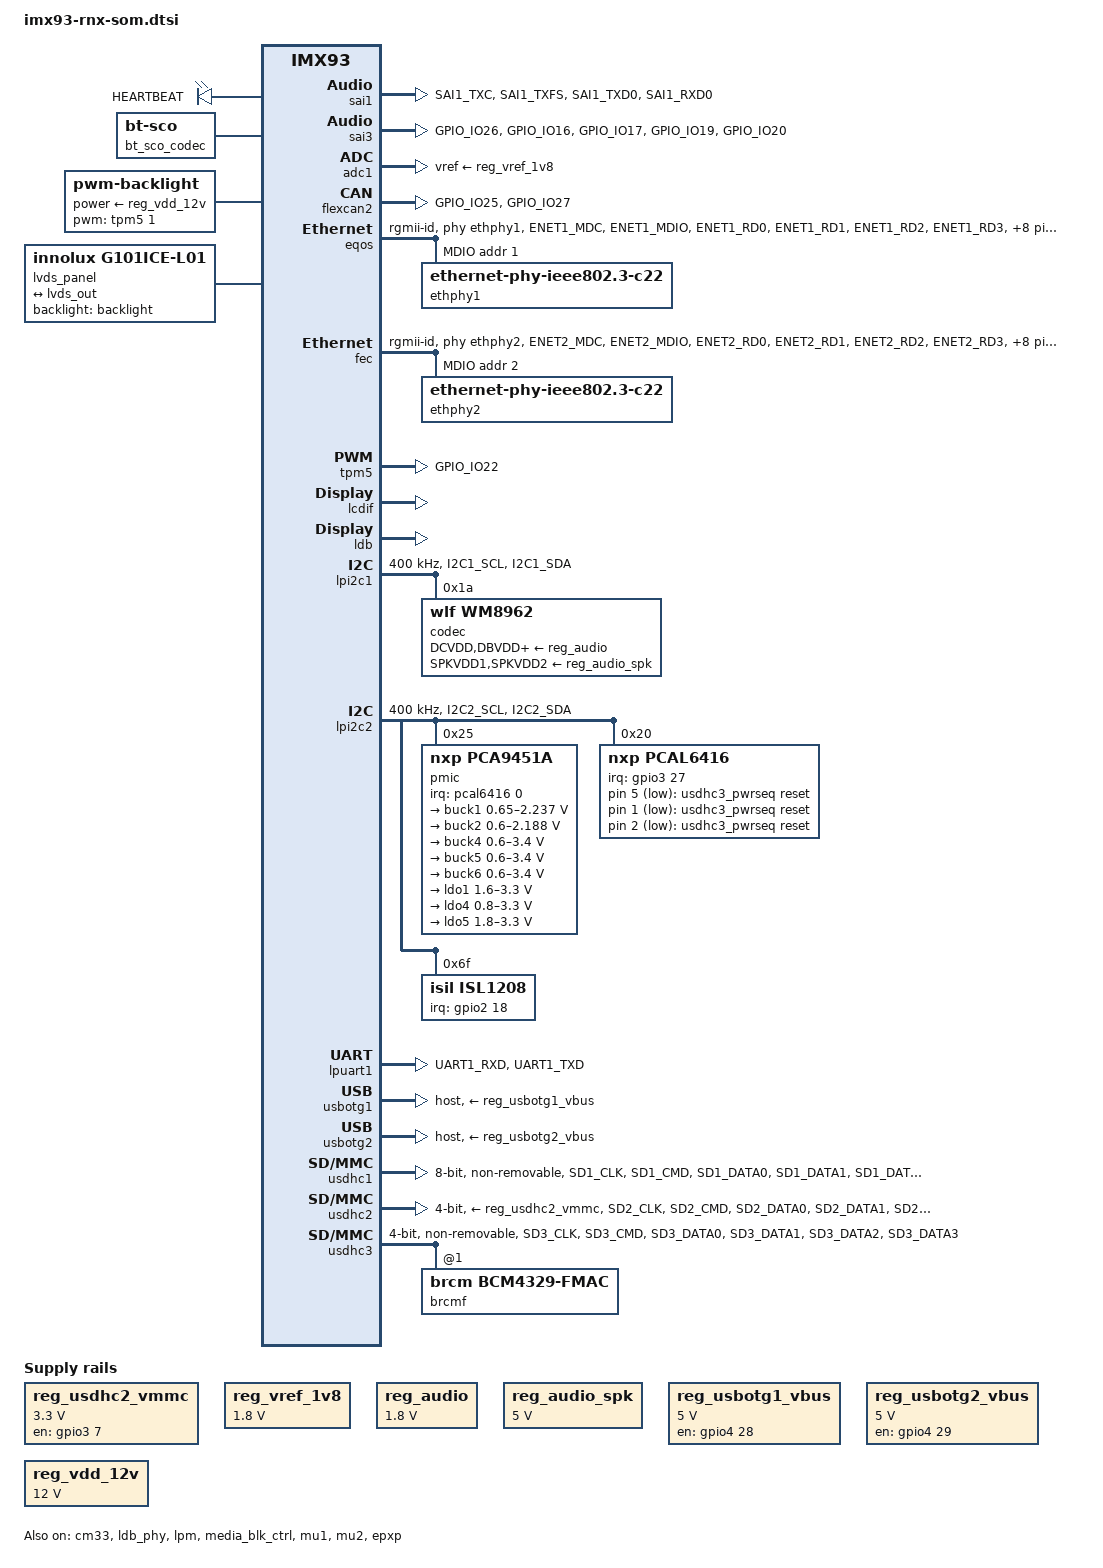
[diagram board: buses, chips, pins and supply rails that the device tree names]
// SPDX-License-Identifier: (GPL-2.0+ OR MIT)
/*
 * Copyright 2022 NXP
 * Copyright 2023-2026 Ronetix GmbH
 *
 * Common part of the Ronetix RNX-iMX93-OSM and RNX-iMX93-SMARC SoMs.
 * The board files set the model and the compatible and override what
 * differs between the two, see imx93-rnx-osm.dts and
 * imx93-rnx-smarc.dts.
 */

#include <dt-bindings/usb/pd.h>
#include "imx93.dtsi"

&ele_fw2 {
	memory-region = <&ele_reserved>;
};

/ {
	/*
	 * The 6.1 NXP kernel supplied these from its imx93.dtsi. Upstream moved
	 * the aliases out of the SoC .dtsi and into the board files, so for 6.18
	 * every i.MX93 board carries its own - see imx93-11x11-evk.dts.
	 *
	 * serial0 is not optional: of_alias_get_id() failing makes the lpuart
	 * probe return -ENODEV (fsl_lpuart.c), so there is no ttyLP0 for a getty
	 * and the console dies mid-line the moment clk_disable_unused() gates the
	 * UART clock. The mmc* aliases set the host index (mmc_alloc_host() in
	 * drivers/mmc/core/host.c), which keeps the eMMC on mmcblk0 instead of
	 * leaving it to probe order.
	 */
	aliases {
		csi0 = &mipi_csi;
		ethernet0 = &fec;
		ethernet1 = &eqos;
		gpio0 = &gpio1;
		gpio1 = &gpio2;
		gpio2 = &gpio3;
		gpio3 = &gpio4;
		i2c0 = &lpi2c1;
		i2c1 = &lpi2c2;
		i2c2 = &lpi2c3;
		i2c3 = &lpi2c4;
		i2c4 = &lpi2c5;
		i2c5 = &lpi2c6;
		i2c6 = &lpi2c7;
		i2c7 = &lpi2c8;
		isi0 = &isi;		/* isi_0 in the 6.1 tree */
		mmc0 = &usdhc1;		/* eMMC */
		mmc1 = &usdhc2;		/* SD card */
		mmc2 = &usdhc3;		/* AP6275S WiFi */
		rtc0 = &bbnsm_rtc;	/* as in 6.1; the isl1208 becomes rtc1 */
		serial0 = &lpuart1;	/* console, ttyLP0 */
		serial1 = &lpuart2;
		serial2 = &lpuart3;
		serial3 = &lpuart4;
		serial4 = &lpuart5;
		serial5 = &lpuart6;
		serial6 = &lpuart7;
		serial7 = &lpuart8;
	};

	chosen {
		stdout-path = &lpuart1;
	};

	leds {
		compatible = "gpio-leds";

		/* the GPIO differs between OSM and SMARC */
		led_heartbeat: debug-led0 {
			label = "HEARTBEAT";
			linux,default-trigger = "heartbeat";
		};
	};

	reserved-memory {
		#address-cells = <2>;
		#size-cells = <2>;
		ranges;

		linux,cma {
			compatible = "shared-dma-pool";
			reusable;
			alloc-ranges = <0 0x80000000 0 0x40000000>;
			size = <0 0x04000000>;				/* 0x0400_0000 - 64MB */
			linux,cma-default;
		};

		ethosu_mem: ethosu_region@B0000000 {
			compatible = "shared-dma-pool";
			reusable;
			reg = <0x0 0xB0000000 0x0 0x10000000>;
		};

		vdev0vring0: vdev0vring0@a4000000 {
			reg = <0 0xa4000000 0 0x8000>;
			no-map;
		};

		vdev0vring1: vdev0vring1@a4008000 {
			reg = <0 0xa4008000 0 0x8000>;
			no-map;
		};

		vdev1vring0: vdev1vring0@a4010000 {
			reg = <0 0xa4010000 0 0x8000>;
			no-map;
		};

		vdev1vring1: vdev1vring1@a4018000 {
			reg = <0 0xa4018000 0 0x8000>;
			no-map;
		};

		rsc_table: rsc-table@2021f000 {
			reg = <0 0x2021f000 0 0x1000>;
			no-map;
		};

		vdevbuffer: vdevbuffer@a4020000 {
			compatible = "shared-dma-pool";
			reg = <0 0xa4020000 0 0x100000>;
			no-map;
		};

		ele_reserved: ele-reserved@a4120000 {
			compatible = "shared-dma-pool";
			reg = <0 0xa4120000 0 0x100000>;
			no-map;
		};
	};

	ethosu {
		compatible = "arm,ethosu";
		fsl,cm33-proc = <&cm33>;
		memory-region = <&ethosu_mem>;
		power-domains = <&mlmix>;
	};

	reg_usdhc2_vmmc: regulator-usdhc2 {
		compatible = "regulator-fixed";
		pinctrl-names = "default";
		pinctrl-0 = <&pinctrl_reg_usdhc2_vmmc>;
		regulator-name = "VSD_3V3";
		regulator-min-microvolt = <3300000>;
		regulator-max-microvolt = <3300000>;
		gpio = <&gpio3 7 GPIO_ACTIVE_HIGH>;
		off-on-delay-us = <12000>;
		enable-active-high;
	};

	/*
	 * AP6275S power sequence. Verified against WiFi_LGA1216.SchDoc: the
	 * PCAL6416 P0 bank is
	 *   P0_0 PMIC_nINT        P0_4 WL_HOST_WAKEn
	 *   P0_1 W_DISABLE1       P0_5 SDIO_RESETn
	 *   P0_2 W_DISABLE2       P0_6 HOST_WAKE_WLAN
	 *   P0_3 BT_UART_WAKEn    P0_7 USB_HUB_VBUS_DET
	 * so these three lines are the module reset plus the two disables:
	 * W_DISABLE2 drives WL_REG_ON (module pin 63) and W_DISABLE1 drives
	 * WL_GPIO1/WL_DEV_WAKE (pin 28). Both also appear on the SMARC
	 * carrier connector, so the carrier can assert them too.
	 *
	 * Active low is right for all three: pwrseq_simple asserts
	 * reset-gpios while powered off and releases them after
	 * post-power-on-delay-ms, which drives SDIO_RESETn and the two
	 * W_DISABLE# lines low to hold the module off, then high to enable.
	 *
	 * The 6.1 DT used the property name "gpio" here, which
	 * mmc-pwrseq-simple does not read, so the lines were never driven.
	 */
	usdhc3_pwrseq: usdhc3-pwrseq {
		compatible = "mmc-pwrseq-simple";
		reset-gpios = <&pcal6416 5 GPIO_ACTIVE_LOW>,
			      <&pcal6416 1 GPIO_ACTIVE_LOW>,
			      <&pcal6416 2 GPIO_ACTIVE_LOW>;
		post-power-on-delay-ms = <150>;
	};

	reg_vref_1v8: regulator-adc-vref {
		compatible = "regulator-fixed";
		regulator-name = "vref_1v8";
		regulator-min-microvolt = <1800000>;
		regulator-max-microvolt = <1800000>;
	};

	reg_audio: regulator-audio {
		compatible = "regulator-fixed";
		regulator-name = "1v8_aud";
		regulator-min-microvolt = <1800000>;
		regulator-max-microvolt = <1800000>;
	};

	reg_audio_spk: regulator-audio-spk {
		compatible = "regulator-fixed";
		regulator-name = "5v0_speaker";
		regulator-min-microvolt = <5000000>;
		regulator-max-microvolt = <5000000>;
	};
	
	reg_usbotg1_vbus: regulator-usbotg1-vbus {
		compatible = "regulator-fixed";
		regulator-name = "vbus";
		pinctrl-names = "default";
		pinctrl-0 = <&pinctrl_usbotg1>;
		regulator-min-microvolt = <5000000>;
		regulator-max-microvolt = <5000000>;
		gpio = <&gpio4 28 GPIO_ACTIVE_HIGH>;
		enable-active-high;
	};

	reg_usbotg2_vbus: regulator-usbotg2-vbus {
		compatible = "regulator-fixed";
		regulator-name = "vbus";
		pinctrl-names = "default";
		pinctrl-0 = <&pinctrl_usbotg2>;
		regulator-min-microvolt = <5000000>;
		regulator-max-microvolt = <5000000>;
		gpio = <&gpio4 29 GPIO_ACTIVE_HIGH>;
		enable-active-high;
	};

	reg_vdd_12v: regulator-vdd-12v {
		compatible = "regulator-fixed";
		regulator-name = "reg_vdd_12v";
		regulator-min-microvolt = <12000000>;
		regulator-max-microvolt = <12000000>;
	};

	sound_wm8962: sound-wm8962 {
		compatible = "fsl,imx-audio-wm8962";
		model = "wm8962-audio";
		pinctrl-names = "default";
		pinctrl-0 = <&pinctrl_wm8962>;
		audio-cpu = <&sai3>;
		audio-codec = <&codec>;
		/* hp-det-gpio differs between OSM and SMARC */
		audio-routing =
			"Headphone Jack", "HPOUTL",
			"Headphone Jack", "HPOUTR",
			"Ext Spk", "SPKOUTL",
			"Ext Spk", "SPKOUTR",
			"AMIC", "MICBIAS",
			"IN3R", "AMIC",
			"IN1R", "AMIC";
	};

	bt_sco_codec: bt_sco_codec {
		#sound-dai-cells = <1>;
		compatible = "linux,bt-sco";
	};

	sound-bt-sco {
		compatible = "simple-audio-card";
		simple-audio-card,name = "bt-sco-audio";
		simple-audio-card,format = "dsp_a";
		simple-audio-card,bitclock-inversion;
		simple-audio-card,frame-master = <&btcpu>;
		simple-audio-card,bitclock-master = <&btcpu>;

		btcpu: simple-audio-card,cpu {
			sound-dai = <&sai1>;
			dai-tdm-slot-num = <2>;
			dai-tdm-slot-width = <16>;
		};

		simple-audio-card,codec {
			sound-dai = <&bt_sco_codec 1>;
		};
	};

	backlight: backlight {
		compatible = "pwm-backlight";
		pinctrl-names = "default";
		pinctrl-0 = <&pinctrl_backlight>;
		/* enable-gpios differs between OSM and SMARC */
		power-supply = <&reg_vdd_12v>;
		pwms = <&tpm5 1 1000000 0>;
		status = "okay";
		brightness-levels = < 0  1  2  3  4  5  6  7  8  9
				     10 11 12 13 14 15 16 17 18 19
				     20 21 22 23 24 25 26 27 28 29
				     30 31 32 33 34 35 36 37 38 39
				     40 41 42 43 44 45 46 47 48 49
				     50 51 52 53 54 55 56 57 58 59
				     60 61 62 63 64 65 66 67 68 69
				     70 71 72 73 74 75 76 77 78 79
				     80 81 82 83 84 85 86 87 88 89
				     90 91 92 93 94 95 96 97 98 99
				    100>;
		default-brightness-level = <90>;
	};

	lvds_panel {
		compatible = "innolux,g101ice-l01";
		backlight = <&backlight>;

		port {
			panel_lvds_in: endpoint {
				remote-endpoint = <&lvds_out>;
			};
		};
	};
};

&sai1 {
	#sound-dai-cells = <0>;
	pinctrl-names = "default";
	pinctrl-0 = <&pinctrl_sai1>;
	assigned-clocks = <&clk IMX93_CLK_SAI1>;
	assigned-clock-parents = <&clk IMX93_CLK_AUDIO_PLL>;
	assigned-clock-rates = <12288000>;
	status = "okay";
};

&sai3 {
	pinctrl-names = "default";
	pinctrl-0 = <&pinctrl_sai3>;
	assigned-clocks = <&clk IMX93_CLK_SAI3>;
	assigned-clock-parents = <&clk IMX93_CLK_AUDIO_PLL>;
	assigned-clock-rates = <12288000>;
	fsl,sai-mclk-direction-output;
	status = "okay";
};

&adc1 {
	vref-supply = <&reg_vref_1v8>;
	status = "okay";
};

&cm33 {
	mbox-names = "tx", "rx", "rxdb";
	mboxes = <&mu1 0 1>,
		 <&mu1 1 1>,
		 <&mu1 3 1>;
	memory-region = <&vdevbuffer>, <&vdev0vring0>, <&vdev0vring1>,
			<&vdev1vring0>, <&vdev1vring1>, <&rsc_table>;
	fsl,startup-delay-ms = <500>;
	status = "okay";
};

&flexcan2 {
	pinctrl-names = "default";
	pinctrl-0 = <&pinctrl_flexcan2>;
	status = "okay";
};

/* ethernet@428a0000
 * Carrier board: ETH1
 * Linux console: eth1
 */
&eqos {
	pinctrl-names = "default";
	pinctrl-0 = <&pinctrl_eqos>;
	phy-mode = "rgmii-id";
	phy-handle = <&ethphy1>;
	status = "okay";

	eqos_mdio: mdio {
		compatible = "snps,dwmac-mdio";
		#address-cells = <1>;
		#size-cells = <0>;
		clock-frequency = <5000000>;

		ethphy1: ethernet-phy@1 {
			compatible = "ethernet-phy-ieee802.3-c22";
			reg = <1>;
		};
	};
};

/* ethernet@42890000
 * Carrier: ETH2
 * Linux:   eth0
 */
&fec {
	pinctrl-names = "default";
	pinctrl-0 = <&pinctrl_fec>;
	phy-mode = "rgmii-id";
	phy-handle = <&ethphy2>;
	fsl,magic-packet;
	status = "okay";
	
	mdio {
		#address-cells = <1>;
		#size-cells = <0>;
		clock-frequency = <5000000>;

		ethphy2: ethernet-phy@2 {
			compatible = "ethernet-phy-ieee802.3-c22";
			reg = <2>;
		};
	};
};

&dphy {
	status = "disabled";
};

&dsi {
	status = "disabled";
};

&tpm5 {
	pinctrl-0 = <&pinctrl_tpm5>;
	pinctrl-names = "default";
	status = "okay";
};

&lcdif {
	status = "okay";
	assigned-clock-rates = <498000000>, <71142857>, <400000000>, <133333333>;
};

&ldb {
	#address-cells = <1>;
	#size-cells = <0>;
	status = "okay";

	lvds-channel@0 {
		#address-cells = <1>;
		#size-cells = <0>;
		status = "okay";

		port@1 {
			reg = <1>;

			lvds_out: endpoint {
				remote-endpoint = <&panel_lvds_in>;
			};
		};
	};
};

&ldb_phy {
	status = "okay";
};

&lpm {
	soc-supply = <&buck1>;
	status = "okay";
};

&lpi2c1 {
	#address-cells = <1>;
	#size-cells = <0>;
	clock-frequency = <400000>;
	pinctrl-names = "default", "sleep";
	pinctrl-0 = <&pinctrl_lpi2c1>;
	pinctrl-1 = <&pinctrl_lpi2c1>;
	status = "okay";

	codec: wm8962@1a {
		compatible = "wlf,wm8962";
		reg = <0x1a>;
		clocks = <&clk IMX93_CLK_SAI3_GATE>;
		DCVDD-supply = <&reg_audio>;
		DBVDD-supply = <&reg_audio>;
		AVDD-supply = <&reg_audio>;
		CPVDD-supply = <&reg_audio>;
		MICVDD-supply = <&reg_audio>;
		PLLVDD-supply = <&reg_audio>;
		SPKVDD1-supply = <&reg_audio_spk>;
		SPKVDD2-supply = <&reg_audio_spk>;
		gpio-cfg = <
			0x0000 /* 0:Default */
			0x0000 /* 1:Default */
			0x0000 /* 2:FN_DMICCLK */
			0x0000 /* 3:Default */
			0x0000 /* 4:FN_DMICCDAT */
			0x0000 /* 5:Default */
		>;
	};

	/*
	 * No lsm6dsm@6a. The 6.1 DT had one, but there is no IMU on either
	 * SoM - no LSM6 part appears anywhere in the RNX-iMX93-SMARC or
	 * RNX-iMX93-OSM schematic, nor on the carriers - so the node only
	 * made the st_lsm6dsx driver probe an address that never answers.
	 */

	/*
	 * Optional MIPI CSI camera, not fitted by default. Left disabled
	 * because with no sensor on the bus the driver only produces
	 *   ov5640 0-003c: ov5640_write_reg: error: reg=3008, val=82
	 *   ov5640 0-003c: failed to power on
	 *   ov5640 0-003c: probe with driver ov5640 failed with error -5
	 * on every boot.
	 *
	 * The rest of the capture pipeline - &mipi_csi, &dphy_rx and &isi -
	 * is disabled with it, see &mipi_csi below. To use a camera, set all
	 * four to "okay" and wire it up on the carrier.
	 */
	ov5640_mipi: ov5640_mipi@3c {
		compatible = "ovti,ov5640";
		reg = <0x3c>;
		clocks = <&clk IMX93_CLK_CCM_CKO1>;
		assigned-clocks = <&clk IMX93_CLK_CCM_CKO1>;
		assigned-clock-rates = <24000000>;
		clock-names = "xclk";
		status = "disabled";

		port {
			ov5640_mipi_ep: endpoint {
				remote-endpoint = <&mipi_csi_in>;
				data-lanes = <1 2>;
				clock-lanes = <0>;
			};
		};
	};
};

&lpi2c2 {
	#address-cells = <1>;
	#size-cells = <0>;
	clock-frequency = <400000>;
	pinctrl-names = "default", "sleep";
	pinctrl-0 = <&pinctrl_lpi2c2>;
	pinctrl-1 = <&pinctrl_lpi2c2>;
	status = "okay";

	pmic@25 {
		compatible = "nxp,pca9451a";
		reg = <0x25>;
		interrupt-parent = <&pcal6416>;
		interrupts = <0 IRQ_TYPE_EDGE_FALLING>;

		regulators {
			buck1: BUCK1 {
				regulator-name = "BUCK1";
				regulator-min-microvolt = <650000>;
				regulator-max-microvolt = <2237500>;
				regulator-boot-on;
				regulator-always-on;
				regulator-ramp-delay = <3125>;
			};

			buck2: BUCK2 {
				regulator-name = "BUCK2";
				regulator-min-microvolt = <600000>;
				regulator-max-microvolt = <2187500>;
				regulator-boot-on;
				regulator-always-on;
				regulator-ramp-delay = <3125>;
			};

			buck4: BUCK4{
				regulator-name = "BUCK4";
				regulator-min-microvolt = <600000>;
				regulator-max-microvolt = <3400000>;
				regulator-boot-on;
				regulator-always-on;
			};

			buck5: BUCK5{
				regulator-name = "BUCK5";
				regulator-min-microvolt = <600000>;
				regulator-max-microvolt = <3400000>;
				regulator-boot-on;
				regulator-always-on;
			};

			buck6: BUCK6 {
				regulator-name = "BUCK6";
				regulator-min-microvolt = <600000>;
				regulator-max-microvolt = <3400000>;
				regulator-boot-on;
				regulator-always-on;
			};

			ldo1: LDO1 {
				regulator-name = "LDO1";
				regulator-min-microvolt = <1600000>;
				regulator-max-microvolt = <3300000>;
				regulator-boot-on;
				regulator-always-on;
			};

			ldo4: LDO4 {
				regulator-name = "LDO4";
				regulator-min-microvolt = <800000>;
				regulator-max-microvolt = <3300000>;
				regulator-boot-on;
				regulator-always-on;
			};

			ldo5: LDO5 {
				regulator-name = "LDO5";
				regulator-min-microvolt = <1800000>;
				regulator-max-microvolt = <3300000>;
				regulator-boot-on;
				regulator-always-on;
			};
		};
	};

	pcal6416: gpio@20 {
		compatible = "nxp,pcal6416";
		pinctrl-names = "default";
		pinctrl-0 = <&pinctrl_pcal6416>;
		reg = <0x20>;
		gpio-controller;
		#gpio-cells = <2>;
		interrupt-controller;
		#interrupt-cells = <2>;
		interrupt-parent = <&gpio3>;
		interrupts = <27 IRQ_TYPE_LEVEL_LOW>;
	};

	isl1208: rtc@6f {
			compatible = "isil,isl1208";
			reg = <0x6F>;
			interrupt-parent = <&gpio2>;
			interrupts = <18 IRQ_TYPE_EDGE_FALLING>;
			status = "okay";
	};
	
	/*
	 * No node for the USB2517 hub. Per USB_HUB.SchDoc its RESET is tied to
	 * POR_B and its CFG_SEL straps (multiplexed on SCL/SMBCLK and
	 * HS_IND) select the internal default configuration, so the SMBus
	 * slave does not respond - usb251xb got -EIO on every register write:
	 *   usb251xb 1-002c: configuring block 0 failed: -5
	 *   usb251xb 1-002c: Failed to connect hub (-5)
	 * The hub needs no driver: it self-configures from the straps and
	 * enumerates on its own ("hub 2-1:1.0: 4 ports detected").
	 */
};

&lpuart1 { /* console */
	pinctrl-names = "default";
	pinctrl-0 = <&pinctrl_uart1>;
	status = "okay";
};

&media_blk_ctrl {
	status = "okay";
};

&mu1 {
	status = "okay";
};

&mu2 {
	status = "okay";
};

&usbotg1 {
	dr_mode = "host";
	status = "okay";
	vbus-supply = <&reg_usbotg1_vbus>;
};

&usbotg2 {
	dr_mode = "host";
	status = "okay";
	vbus-supply = <&reg_usbotg2_vbus>;
};

&usdhc1 {
	pinctrl-names = "default", "state_100mhz", "state_200mhz";
	pinctrl-0 = <&pinctrl_usdhc1>;
	pinctrl-1 = <&pinctrl_usdhc1>;
	pinctrl-2 = <&pinctrl_usdhc1>;
	bus-width = <8>;
	non-removable;
	status = "okay";
};

&usdhc2 {
	pinctrl-names = "default", "state_100mhz", "state_200mhz";
	pinctrl-0 = <&pinctrl_usdhc2>, <&pinctrl_usdhc2_gpio>;
	pinctrl-1 = <&pinctrl_usdhc2>, <&pinctrl_usdhc2_gpio>;
	pinctrl-2 = <&pinctrl_usdhc2>, <&pinctrl_usdhc2_gpio>;
	/* cd-gpios differs between OSM and SMARC */
	vmmc-supply = <&reg_usdhc2_vmmc>;
	keep-power-in-suspend;
	bus-width = <4>;
	status = "okay";
	no-sdio;
	no-mmc;
};

&usdhc3 {
	#address-cells = <1>;
	#size-cells = <0>;
	pinctrl-names = "default", "state_100mhz", "state_200mhz";
	pinctrl-0 = <&pinctrl_usdhc3>;
	pinctrl-1 = <&pinctrl_usdhc3>;
	pinctrl-2 = <&pinctrl_usdhc3>;
	mmc-pwrseq = <&usdhc3_pwrseq>;
	bus-width = <4>;
	max-frequency = <100000000>;
	non-removable;
	no-mmc;
	no-sd;
	status = "okay";

	/*
	 * AP6275S (BCM43752A2). The out of tree bcmdhd driver of the
	 * 6.1 BSP does not exist in this kernel, so the module runs on
	 * brcmfmac with brcm/brcmfmac43752-sdio.{bin,txt,clm_blob} from
	 * the linux-firmware-bcm43752 package (see meta-ronetix,
	 * recipes-kernel/linux-firmware).
	 *
	 * No "host-wake" out of band interrupt here, deliberately: on
	 * this module WL_HOST_WAKEn lands on P0_4 of the PCAL6416
	 * expander, and an interrupt from an i2c expander is a nested
	 * threaded one (gpio-pca953x.c sets girq->threaded, so gpiolib
	 * marks every line IRQ_NESTED_THREAD). __setup_irq() rejects
	 * such a line unless the handler has a thread_fn, and
	 * brcmfmac uses plain request_irq() in
	 * brcmf_sdiod_intr_register(). The result is
	 *   brcmfmac: brcmf_sdiod_intr_register: request_irq failed -22
	 *   brcmfmac: brcmf_sdio_firmware_callback: intr register failed:-22
	 * after the firmware has already been downloaded, and no wlan0.
	 * Without the property brcmfmac uses the in band SDIO interrupt
	 * on DAT1 instead (sdio_claim_irq), which works. The cost is
	 * that the chip cannot wake the host out of system suspend.
	 */
	brcmf: wifi@1 {
		compatible = "brcm,bcm4329-fmac";
		reg = <1>;
	};
};

&iomuxc {
	pinctrl_flexcan2: flexcan2grp {
		fsl,pins = <
			MX93_PAD_GPIO_IO25__CAN2_TX	0x139e
			MX93_PAD_GPIO_IO27__CAN2_RX	0x139e
		>;
	};

	pinctrl_lpi2c1: lpi2c1grp {
		fsl,pins = <
			MX93_PAD_I2C1_SCL__LPI2C1_SCL			0x40000b9e
			MX93_PAD_I2C1_SDA__LPI2C1_SDA			0x40000b9e
		>;
	};

	pinctrl_lpi2c2: lpi2c2grp {
		fsl,pins = <
			MX93_PAD_I2C2_SCL__LPI2C2_SCL			0x40000b9e
			MX93_PAD_I2C2_SDA__LPI2C2_SDA			0x40000b9e
		>;
	};

	/* pinctrl_backlight and pinctrl_wm8962 are in the board files,
	 * their pads differ between OSM and SMARC
	 */
	
	pinctrl_tpm5: tpm5grp {
		fsl,pins = <
			MX93_PAD_GPIO_IO22__TPM5_CH1 		0x51e
		>;
	};

	pinctrl_pcal6416: pcal6416grp {
		fsl,pins = <
			MX93_PAD_CCM_CLKO2__GPIO3_IO27			0x31e
		>;
	};

	pinctrl_eqos: eqosgrp {
		fsl,pins = <
			MX93_PAD_ENET1_MDC__ENET_QOS_MDC				0x57e
			MX93_PAD_ENET1_MDIO__ENET_QOS_MDIO				0x57e
			MX93_PAD_ENET1_RD0__ENET_QOS_RGMII_RD0			0x57e
			MX93_PAD_ENET1_RD1__ENET_QOS_RGMII_RD1			0x57e
			MX93_PAD_ENET1_RD2__ENET_QOS_RGMII_RD2			0x57e
			MX93_PAD_ENET1_RD3__ENET_QOS_RGMII_RD3			0x57e
			MX93_PAD_ENET1_RXC__CCM_ENET_QOS_CLOCK_GENERATE_RX_CLK	0x5fe
			MX93_PAD_ENET1_RX_CTL__ENET_QOS_RGMII_RX_CTL	0x57e
			MX93_PAD_ENET1_TD0__ENET_QOS_RGMII_TD0			0x57e
			MX93_PAD_ENET1_TD1__ENET_QOS_RGMII_TD1			0x57e
			MX93_PAD_ENET1_TD2__ENET_QOS_RGMII_TD2			0x57e
			MX93_PAD_ENET1_TD3__ENET_QOS_RGMII_TD3			0x57e
			MX93_PAD_ENET1_TXC__CCM_ENET_QOS_CLOCK_GENERATE_TX_CLK	0x5fe
			MX93_PAD_ENET1_TX_CTL__ENET_QOS_RGMII_TX_CTL	0x57e
		>;
	};

	pinctrl_fec: fecgrp {
		fsl,pins = <
			MX93_PAD_ENET2_MDC__ENET1_MDC			0x57e
			MX93_PAD_ENET2_MDIO__ENET1_MDIO			0x57e
			MX93_PAD_ENET2_RD0__ENET1_RGMII_RD0		0x57e
			MX93_PAD_ENET2_RD1__ENET1_RGMII_RD1		0x57e
			MX93_PAD_ENET2_RD2__ENET1_RGMII_RD2		0x57e
			MX93_PAD_ENET2_RD3__ENET1_RGMII_RD3		0x57e
			MX93_PAD_ENET2_RXC__ENET1_RGMII_RXC		0x5fe
			MX93_PAD_ENET2_RX_CTL__ENET1_RGMII_RX_CTL	0x57e
			MX93_PAD_ENET2_TD0__ENET1_RGMII_TD0		0x57e
			MX93_PAD_ENET2_TD1__ENET1_RGMII_TD1		0x57e
			MX93_PAD_ENET2_TD2__ENET1_RGMII_TD2		0x57e
			MX93_PAD_ENET2_TD3__ENET1_RGMII_TD3		0x57e
			MX93_PAD_ENET2_TXC__ENET1_RGMII_TXC		0x5fe
			MX93_PAD_ENET2_TX_CTL__ENET1_RGMII_TX_CTL	0x57e
		>;
	};

	pinctrl_uart1: uart1grp {
		fsl,pins = <
			MX93_PAD_UART1_RXD__LPUART1_RX			0x31e
			MX93_PAD_UART1_TXD__LPUART1_TX			0x31e
		>;
	};

	pinctrl_uart5: uart5grp {
		fsl,pins = <
			MX93_PAD_DAP_TDO_TRACESWO__LPUART5_TX	0x31e
			MX93_PAD_DAP_TDI__LPUART5_RX		0x31e
			MX93_PAD_DAP_TMS_SWDIO__LPUART5_RTS_B	0x31e
			MX93_PAD_DAP_TCLK_SWCLK__LPUART5_CTS_B	0x31e
		>;
	};

	pinctrl_usdhc1: usdhc1grp {
		fsl,pins = <
			MX93_PAD_SD1_CLK__USDHC1_CLK		0x15fe
			MX93_PAD_SD1_CMD__USDHC1_CMD		0x13fe
			MX93_PAD_SD1_DATA0__USDHC1_DATA0	0x13fe
			MX93_PAD_SD1_DATA1__USDHC1_DATA1	0x13fe
			MX93_PAD_SD1_DATA2__USDHC1_DATA2	0x13fe
			MX93_PAD_SD1_DATA3__USDHC1_DATA3	0x13fe
			MX93_PAD_SD1_DATA4__USDHC1_DATA4	0x13fe
			MX93_PAD_SD1_DATA5__USDHC1_DATA5	0x13fe
			MX93_PAD_SD1_DATA6__USDHC1_DATA6	0x13fe
			MX93_PAD_SD1_DATA7__USDHC1_DATA7	0x13fe
			MX93_PAD_SD1_STROBE__USDHC1_STROBE	0x15fe
		>;
	};

	pinctrl_reg_usdhc2_vmmc: regusdhc2vmmcgrp {
		fsl,pins = <
			MX93_PAD_SD2_RESET_B__GPIO3_IO07	0x31e
		>;
	};

	pinctrl_usdhc2_gpio: usdhc2gpiogrp {
		fsl,pins = <
			MX93_PAD_SD2_CD_B__GPIO3_IO00		0x31e
		>;
	};

	pinctrl_usdhc2: usdhc2grp {
		fsl,pins = <
			MX93_PAD_SD2_CLK__USDHC2_CLK		0x15fe
			MX93_PAD_SD2_CMD__USDHC2_CMD		0x13fe
			MX93_PAD_SD2_DATA0__USDHC2_DATA0	0x13fe
			MX93_PAD_SD2_DATA1__USDHC2_DATA1	0x13fe
			MX93_PAD_SD2_DATA2__USDHC2_DATA2	0x13fe
			MX93_PAD_SD2_DATA3__USDHC2_DATA3	0x13fe
			MX93_PAD_SD2_VSELECT__USDHC2_VSELECT	0x51e
		>;
	};

	pinctrl_usdhc3: usdhc3grp {
		fsl,pins = <
			MX93_PAD_SD3_CLK__USDHC3_CLK		0x15fe
			MX93_PAD_SD3_CMD__USDHC3_CMD		0x13fe
			MX93_PAD_SD3_DATA0__USDHC3_DATA0	0x13fe
			MX93_PAD_SD3_DATA1__USDHC3_DATA1	0x13fe
			MX93_PAD_SD3_DATA2__USDHC3_DATA2	0x13fe
			MX93_PAD_SD3_DATA3__USDHC3_DATA3	0x13fe
		>;
	};

	pinctrl_sai1: sai1grp {
		fsl,pins = <
			MX93_PAD_SAI1_TXC__SAI1_TX_BCLK			0x31e
			MX93_PAD_SAI1_TXFS__SAI1_TX_SYNC		0x31e
			MX93_PAD_SAI1_TXD0__SAI1_TX_DATA00		0x31e
			MX93_PAD_SAI1_RXD0__SAI1_RX_DATA00		0x31e
		>;
	};

	pinctrl_sai3: sai3grp {
		fsl,pins = <
			MX93_PAD_GPIO_IO26__SAI3_TX_SYNC		0x31e
			MX93_PAD_GPIO_IO16__SAI3_TX_BCLK		0x31e
			MX93_PAD_GPIO_IO17__SAI3_MCLK		0x31e
			MX93_PAD_GPIO_IO19__SAI3_TX_DATA00		0x31e
			MX93_PAD_GPIO_IO20__SAI3_RX_DATA00		0x31e
		>;
	};

	pinctrl_usbotg1: usbotg1grp {
		fsl,pins = <
			MX93_PAD_CCM_CLKO3__GPIO4_IO28		0x31e
		>;
	};

	pinctrl_usbotg2: usbotg2grp {
		fsl,pins = <
			MX93_PAD_CCM_CLKO4__GPIO4_IO29		0x31e
		>;
	};
	
};

&epxp {
	status = "okay";
};

&isi {
	/* enabled together with the camera, see &ov5640_mipi */
	status = "disabled";

	port {
		isi_in: endpoint {
			remote-endpoint = <&mipi_csi_out>;
		};
	};
};

&mipi_csi {
	/*
	 * Disabled while no camera is fitted, and not only for tidiness:
	 * dwc_csi_async_register() looks the sensor up with
	 * fwnode_graph_get_endpoint_by_id(), which skips endpoints whose
	 * remote node is unavailable. With the sensor disabled it finds
	 * none and returns -ENOTCONN, so the probe fails on every boot
	 *   dwc-mipi-csi2 4ae00000.csi: Async register failed
	 *   dwc-mipi-csi2 4ae00000.csi: probe with driver dwc-mipi-csi2
	 *       failed with error -107
	 * and, because a consumer of the media block never probes, the
	 * block controller cannot run its sync_state()
	 *   imx93-blk-ctrl 4ac10000.system-controller: sync_state() pending
	 *       due to 4ae00000.csi
	 * which leaves that block's clocks and power domain held in the
	 * state the boot left them in.
	 *
	 * The i.MX93 EVK keeps these nodes enabled because it expects a
	 * camera; on a SoM the camera is optional and usually absent.
	 */
	status = "disabled";

	ports {
		#address-cells = <1>;
		#size-cells = <0>;

		port@0 {
			reg = <0>;

			mipi_csi_in: endpoint {
				remote-endpoint = <&ov5640_mipi_ep>;
				data-lanes = <1 2>;
				cfg-clk-range = <28>;
				hs-clk-range = <0x16>;
			};
		};

		port@1 {
			reg = <1>;

			mipi_csi_out: endpoint {
				remote-endpoint = <&isi_in>;
			};
		};
	};
};

&dphy_rx {
	/* enabled together with the camera, see &ov5640_mipi */
	status = "disabled";
};
